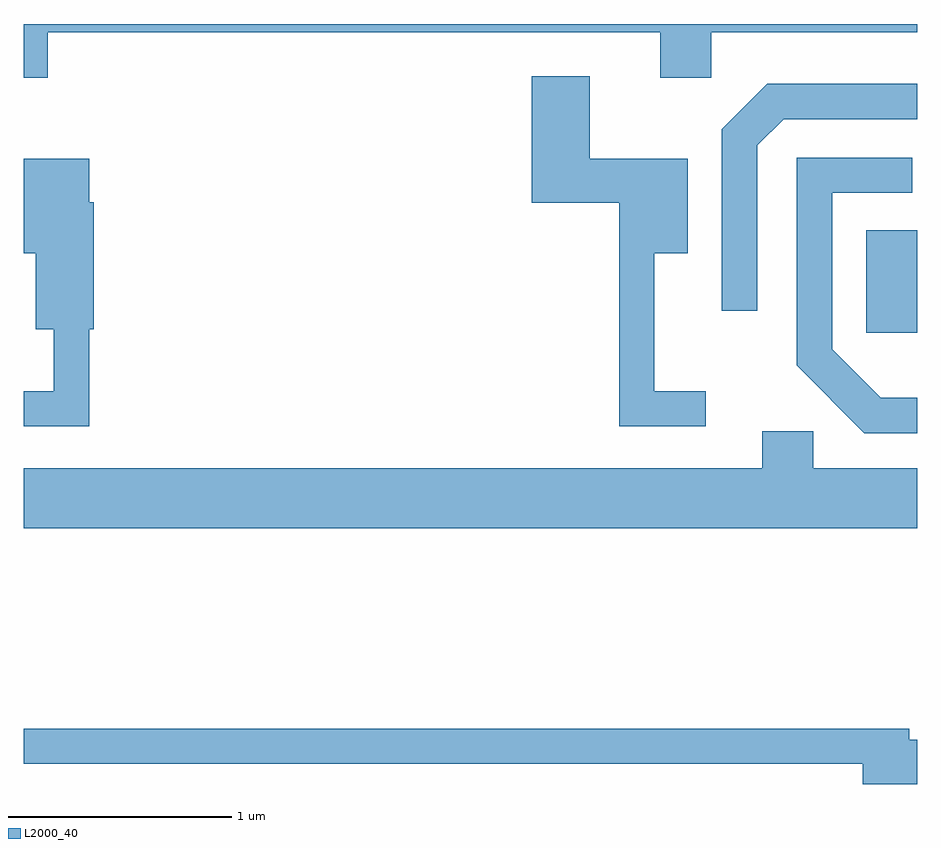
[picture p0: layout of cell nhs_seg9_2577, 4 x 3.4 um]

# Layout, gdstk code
import gdstk
lib = gdstk.Library(unit=1e-6, precision=1e-09)
def R(c, l, rs):  # rectangles x0, y0, x1, y1
    for r in rs: c.add(gdstk.rectangle(r[:2], r[2:], *l))
def P(c, l, *ps):  # polygons
    for p in ps: c.add(gdstk.Polygon(p, *l))
L2000_40 = (2000, 40)

nhs_seg9_2577 = lib.new_cell('nhs_seg9_2577')
R(nhs_seg9_2577, L2000_40, [(263.381,2077.051,263.611,2077.509)])
P(nhs_seg9_2577, L2000_40, [(262.461,2078.191),(262.689,2078.191),(262.689,2078.396),(263.611,2078.396),(263.611,2078.432),(259.611,2078.432),(259.611,2078.191),(259.719,2078.191),(259.719,2078.396),(262.461,2078.396)],
  [(262.663,2076.789),(262.434,2076.789),(262.434,2077.406),(262.584,2077.406),(262.584,2077.829),(262.144,2077.829),(262.144,2078.199),(261.886,2078.199),(261.886,2077.631),(262.276,2077.631),(262.276,2076.631),(262.663,2076.631)],
  [(262.894,2077.889),(263.012,2078.006),(263.611,2078.006),(263.611,2078.164),(262.939,2078.164),(262.736,2077.962),(262.736,2077.148),(262.894,2077.148)],
  [(263.611,2076.759),(263.447,2076.759),(263.229,2076.977),(263.229,2077.676),(263.588,2077.676),(263.588,2077.834),(263.071,2077.834),(263.071,2076.904),(263.374,2076.601),(263.611,2076.601)],
  [(259.904,2077.066),(259.924,2077.066),(259.924,2077.634),(259.904,2077.634),(259.904,2077.829),(259.611,2077.829),(259.611,2077.406),(259.666,2077.406),(259.666,2077.066),(259.746,2077.066),(259.746,2076.789),(259.611,2076.789),(259.611,2076.631),(259.904,2076.631)],
  [(263.611,2076.444),(263.144,2076.444),(263.144,2076.609),(262.916,2076.609),(262.916,2076.444),(259.611,2076.444),(259.611,2076.176),(263.611,2076.176)],
  [(263.611,2075.229),(263.574,2075.229),(263.574,2075.279),(259.611,2075.279),(259.611,2075.121),(263.366,2075.121),(263.366,2075.031),(263.611,2075.031)])

lib.write_gds('nhs_seg9_2577.gds')
